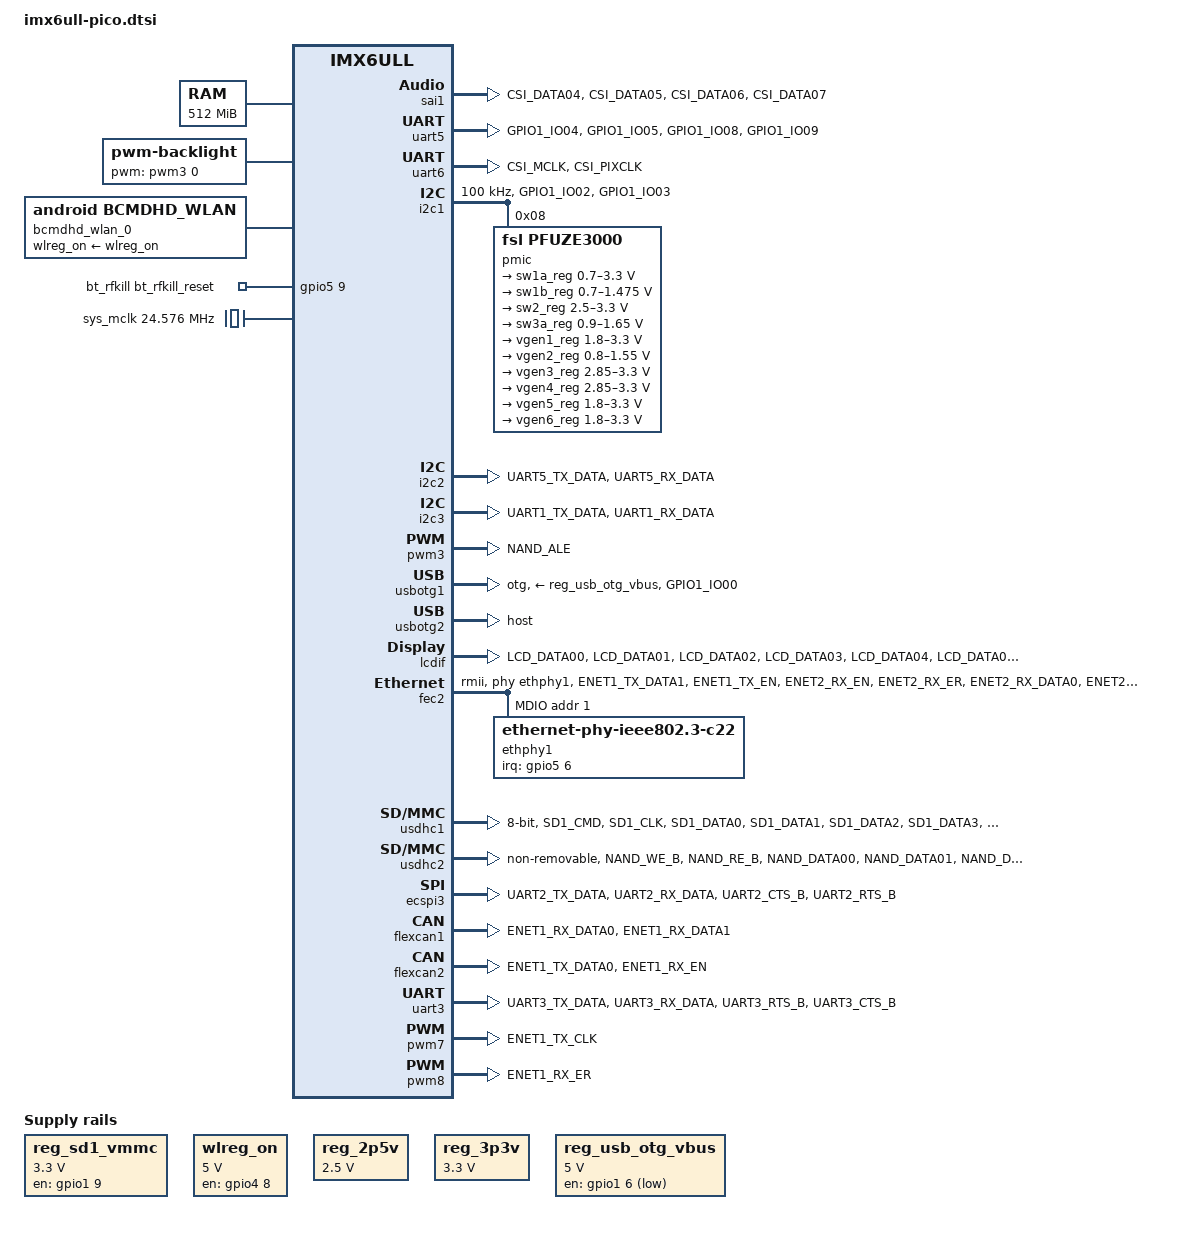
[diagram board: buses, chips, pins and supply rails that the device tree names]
/*
 * Copyright 2018 TechNexion Ltd.
 *
 * Author: Wig Cheng  <wig.cheng@technexion.com>
 *         Richard Hu <richard.hu@technexion.com>
 *         Tapani Utriainen <tapani@technexion.com>
 *
 * This program is free software; you can redistribute it and/or modify
 * it under the terms of the GNU General Public License version 2 as
 * published by the Free Software Foundation.
 *
 */

#include <dt-bindings/gpio/gpio.h>

/* external pins on PICO connector */
#define PICO_EXT_GPIO_P24 gpio4 19
#define PICO_EXT_GPIO_P25 gpio4 20
#define PICO_EXT_GPIO_P26 gpio4 21
#define PICO_EXT_GPIO_P28 gpio4 22
#define PICO_EXT_GPIO_P30 gpio4 23
#define PICO_EXT_GPIO_P32 gpio4 24
#define PICO_EXT_GPIO_P34 gpio1 18
#define PICO_EXT_GPIO_P44 gpio1 29
#define PICO_EXT_GPIO_P48 gpio5 2

/* audio codec */
#define PICO_AUDA_I2S_CHANNEL sai1

/* I2C bus */
#define PICO_I2CA i2c2
#define PICO_I2CB i2c1
#define PICO_I2CC i2c3

#define PICO_SPIA ecspi3

#define PICO_CANA flexcan1
#define PICO_CANB flexcan2

#define PICO_DWARF_GPIO_DEFS()	\
&gpio1 {									\
	gpio-line-names = 							\
		"", "", "", "", "", "", "", "",					\
		"", "", "", "", "", "", "", "",					\
		"", "", "", "", "", "", "", "",					\
		"", "", "", "", "", "", "", "";					\
										\
	pinctrl-0 = <&pinctrl_gpio1>;						\
};										\
										\
&gpio4 {									\
	gpio-line-names = 							\
		"", "", "", "", "", "", "", "",					\
		"", "", "", "", "", "", "", "",					\
		"", "", "", "", "", "", "", "",					\
		"", "", "", "", "", "", "", "";					\
										\
	pinctrl-0 = <&pinctrl_gpio4>;						\
};										\
										\
&gpio5 {									\
	gpio-line-names = 							\
		"", "", "", "", "", "", "", "",					\
		"", "", "", "", "", "", "", "",					\
		"", "", "", "", "", "", "", "",					\
		"", "", "", "", "", "", "", "";					\
										\
	pinctrl-0 = <&pinctrl_gpio5>;						\
}

#define PICO_HOBBIT_GPIO_DEFS()	\
&gpio1 {									\
	gpio-line-names = 							\
		"", "", "", "", "", "", "", "",					\
		"", "", "", "", "", "", "", "",					\
		"", "", "GPIO_P34", "", "", "", "", "",				\
		"", "", "", "", "", "", "", "";					\
										\
	pinctrl-0 = <&pinctrl_gpio1>;						\
};										\
										\
&gpio4 {									\
	gpio-line-names = 							\
		"", "", "", "", "", "", "", "",					\
		"", "", "", "", "", "", "", "",					\
		"", "", "", "GPIO_P24", "", "GPIO_P26", "GPIO_P28", "GPIO_P30",	\
		"", "", "", "", "", "", "", "";					\
										\
	pinctrl-0 = <&pinctrl_gpio4>;						\
};										\
										\
&gpio5 {									\
	gpio-line-names = 							\
		"", "", "", "", "", "", "", "",					\
		"", "", "", "", "", "", "", "",					\
		"", "", "", "", "", "", "", "",					\
		"", "", "", "", "", "", "", "";					\
										\
	pinctrl-0 = <&pinctrl_gpio5>;						\
}

#define PICO_NYMPH_GPIO_DEFS()	\
&gpio1 {									\
	gpio-line-names = 							\
		"", "", "", "", "", "", "", "",					\
		"", "", "", "", "", "", "", "",					\
		"", "", "GPIO_P34", "", "", "", "", "",				\
		"", "", "", "", "", "", "", "";					\
										\
	pinctrl-0 = <&pinctrl_gpio1>;						\
};										\
										\
&gpio4 {									\
	gpio-line-names = 							\
		"", "", "", "", "", "", "", "",					\
		"", "", "", "", "", "", "", "",					\
		"", "", "", "GPIO_P24", "", "GPIO_P26", "GPIO_P28", "GPIO_P30",	\
		"", "", "", "", "", "", "", "";					\
										\
	pinctrl-0 = <&pinctrl_gpio4>;						\
};										\
										\
&gpio5 {									\
	gpio-line-names = 							\
		"", "", "", "", "", "", "", "",					\
		"", "", "", "", "", "", "", "",					\
		"", "", "", "", "", "", "", "",					\
		"", "", "", "", "", "", "", "";					\
										\
	pinctrl-0 = <&pinctrl_gpio5>;						\
}

#define PICO_PI_GPIO_DEFS()	\
&gpio1 {									\
	gpio-line-names = 							\
		"", "", "", "", "", "", "", "",					\
		"", "", "", "", "", "", "", "",					\
		"", "", "GPIO_P34", "", "", "", "", "",				\
		"", "", "", "", "", "", "", "";					\
										\
	pinctrl-0 = <&pinctrl_gpio1>;						\
};										\
										\
&gpio4 {									\
	gpio-line-names = 							\
		"", "", "", "", "", "", "", "",					\
		"", "", "", "", "", "", "", "",					\
		"", "", "", "GPIO_P24", "", "GPIO_P26", "GPIO_P28", "GPIO_P30",	\
		"", "", "", "", "", "", "", "";					\
										\
	pinctrl-0 = <&pinctrl_gpio4>;						\
};										\
										\
&gpio5 {									\
	gpio-line-names = 							\
		"", "", "GPIO_P48", "", "", "", "", "",				\
		"", "", "", "", "", "", "", "",					\
		"", "", "", "", "", "", "", "",					\
		"", "", "", "", "", "", "", "";					\
										\
	pinctrl-0 = <&pinctrl_gpio5>;						\
}

/ {
	memory {
		reg = <0x80000000 0x20000000>;
	};

	chosen {
		stdout-path = &uart6;
	};

	backlight {
		compatible = "pwm-backlight";
		pwms = <&pwm3 0 50000 0>;
		brightness-levels = <0 36 72 108 144 180 216 255>;
		default-brightness-level = <6>;
		status = "okay";
	};

	regulators {
		compatible = "simple-bus";
		#address-cells = <1>;
		#size-cells = <0>;

		reg_sd1_vmmc: regulator@1 {
			compatible = "regulator-fixed";
			regulator-name = "VSD_3V3";
			regulator-min-microvolt = <3300000>;
			regulator-max-microvolt = <3300000>;
			gpio = <&gpio1 9 GPIO_ACTIVE_HIGH>;
			enable-active-high;
			regulator-always-on;
		};

		wlreg_on: fixedregulator@100 {
			compatible = "regulator-fixed";
			regulator-min-microvolt = <5000000>;
			regulator-max-microvolt = <5000000>;
			regulator-name = "wlreg_on";
			gpio = <&gpio4 8 0>;
			startup-delay-us = <100>;
			enable-active-high;
		};

		reg_2p5v: 2p5v {
			compatible = "regulator-fixed";
			regulator-name = "2P5V";
			regulator-min-microvolt = <2500000>;
			regulator-max-microvolt = <2500000>;
			regulator-always-on;
		};

		reg_3p3v: 3p3v {
			compatible = "regulator-fixed";
			regulator-name = "3P3V";
			regulator-min-microvolt = <3300000>;
			regulator-max-microvolt = <3300000>;
			regulator-always-on;
		};

		reg_usb_otg_vbus: usb_otg_vbus {
			compatible = "regulator-fixed";
			pinctrl-names = "default";
			pinctrl-0 = <&pinctrl_usb_otg1>;
			regulator-name = "usb_otg_vbus";
			regulator-min-microvolt = <5000000>;
			regulator-max-microvolt = <5000000>;
			gpio = <&gpio1 6 0>;
		};
	};

	bcmdhd_wlan_0: bcmdhd_wlan@0 {
		compatible = "android,bcmdhd_wlan";
		pinctrl-names = "default";
		pinctrl-0 = <&pinctrl_wifi_ctrl>;
		wlreg_on-supply = <&wlreg_on>;
	};

	bt_rfkill {
		compatible = "net,rfkill-bcm43xx";
		pinctrl-names = "default";
		pinctrl-0 = <&pinctrl_bt_ctrl &pinctrl_bt_host>;
		name = "bt_rfkill";
		type = <2>;     /* bluetooth */
		bt_rfkill_reset-gpios = <&gpio5 9 0>;
	};

	sound {
		compatible = "fsl,imx6ul-sgtl5000",
			"fsl,imx-audio-sgtl5000";
		model = "audio-sgtl5000";
		ssi-controller = <&sai1>;
		asrc-controller = <&asrc>;
		audio-codec = <&codec>;
		audio-routing =
			"LINE_IN", "Line In Jack",
			"MIC_IN", "Mic Jack",
			"Mic Jack", "Mic Bias",
			"Headphone Jack", "HP_OUT",
			"Playback", "CPU-Playback",
			"CPU-Playback", "ASRC-Playback",
			"ASRC-Capture", "CPU-Capture",
			"CPU-Capture", "Capture";
		fsl,no-audmux = "true";
		codec-master;
	};

	clocks {
		sys_mclk: clock {
			compatible = "fixed-clock";
			#clock-cells = <0>;
			clock-frequency = <24576000>;
		};
	};
};

&cpu0 {
	fsl,arm-soc-shared = <1>;
};

&clks {
	assigned-clocks = <&clks IMX6UL_CLK_PLL4_AUDIO_DIV>;
	assigned-clock-rates = <786432000>;
};

&sai1 {
	pinctrl-names = "default";
	pinctrl-0 = <&pinctrl_sai1>;
	status = "okay";
};

&csi {
	status = "disabled";
};

&gpc {
	fsl,cpu_pupscr_sw2iso = <0x1>;
	fsl,cpu_pupscr_sw = <0x0>;
	fsl,cpu_pdnscr_iso2sw = <0x1>;
	fsl,cpu_pdnscr_iso = <0x1>;
	fsl,wdog-reset = <1>; /* watchdog select of reset source */
	fsl,ldo-bypass = <0>; /* DCDC, ldo-enable */
};

&uart5 { /* Bluetooth */
	pinctrl-names = "default";
	pinctrl-0 = <&pinctrl_uart5>;
	fsl,uart-has-rtscts;
	status = "okay";
};

&uart6 {
	pinctrl-names = "default";
	pinctrl-0 = <&pinctrl_uart6>;
	status = "okay";
};

&i2c1 {
	clock-frequency = <100000>;
	pinctrl-names = "default";
	pinctrl-0 = <&pinctrl_i2c1>;
	status = "okay";

	pmic: pfuze3000@8 {
		compatible = "fsl,pfuze3000";
		reg = <0x08>;

		regulators {
			sw1a_reg: sw1a {
				regulator-min-microvolt = <700000>;
				regulator-max-microvolt = <3300000>;
				regulator-boot-on;
				regulator-always-on;
				regulator-ramp-delay = <6250>;
			};

			/* VDD_ARM_SOC_IN */
			sw1b_reg: sw1b {
				regulator-min-microvolt = <700000>;
				regulator-max-microvolt = <1475000>;
				regulator-boot-on;
				regulator-always-on;
				regulator-ramp-delay = <6250>;
			};

			sw2_reg: sw2 {
				regulator-min-microvolt = <2500000>;
				regulator-max-microvolt = <3300000>;
				regulator-boot-on;
				regulator-always-on;
			};

			/* DRAM */
			sw3a_reg: sw3 {
				regulator-min-microvolt = <900000>;
				regulator-max-microvolt = <1650000>;
				regulator-boot-on;
				regulator-always-on;
			};

			/* DRAM */
			vref_reg: vrefddr {
				regulator-boot-on;
				regulator-always-on;
			};

			vgen1_reg: vldo1 {
				regulator-min-microvolt = <1800000>;
				regulator-max-microvolt = <3300000>;
				regulator-always-on;
			};

			vgen2_reg: vldo2 {
				regulator-min-microvolt = <800000>;
				regulator-max-microvolt = <1550000>;
				regulator-always-on;
			};

			vgen3_reg: vccsd {
				regulator-min-microvolt = <2850000>;
				regulator-max-microvolt = <3300000>;
				regulator-always-on;
			};

			vgen4_reg: v33 {
				regulator-min-microvolt = <2850000>;
				regulator-max-microvolt = <3300000>;
				regulator-always-on;
			};

			vgen5_reg: vldo3 {
				regulator-min-microvolt = <1800000>;
				regulator-max-microvolt = <3300000>;
				regulator-always-on;
			};

			vgen6_reg: vldo4 {
				regulator-min-microvolt = <1800000>;
				regulator-max-microvolt = <3300000>;
				regulator-always-on;
			};
		};
	};
};

&i2c2 {
	clock_frequency = <100000>;
	pinctrl-names = "default";
	pinctrl-0 = <&pinctrl_i2c2>;
	status = "okay";
};

&i2c3 {
	clock_frequency = <100000>;
	pinctrl-names = "default";
	pinctrl-0 = <&pinctrl_i2c3>;
	status = "okay";
};

&iomuxc {
	pinctrl-names = "default";
	pico-imx6ull {
		pinctrl_gpio1: gpio1grp {
			fsl,pins = <
				MX6UL_PAD_UART1_CTS_B__GPIO1_IO18	0x79	/* GPIO_P34 */
				MX6UL_PAD_UART4_RX_DATA__GPIO1_IO29     0x79    /* GPIO_P44 */
			>;
		};

		pinctrl_gpio4: gpio4grp {
			fsl,pins = <
				MX6UL_PAD_CSI_VSYNC__GPIO4_IO19		0x79	/* GPIO_P24 */
				MX6UL_PAD_CSI_HSYNC__GPIO4_IO20		0x79	/* GPIO_P25 */
				MX6UL_PAD_CSI_DATA00__GPIO4_IO21	0x79	/* GPIO_P26 */
				MX6UL_PAD_CSI_DATA01__GPIO4_IO22	0x79	/* GPIO_P28 */
				MX6UL_PAD_CSI_DATA02__GPIO4_IO23	0x79	/* GPIO_P30 */
				MX6UL_PAD_CSI_DATA03__GPIO4_IO24	0x79	/* GPIO_P32 */
			>;
		};

		pinctrl_uart5: uart5grp {
			fsl,pins = <
				MX6UL_PAD_GPIO1_IO04__UART5_DCE_TX	0x1b0b1
				MX6UL_PAD_GPIO1_IO05__UART5_DCE_RX	0x1b0b1
				MX6UL_PAD_GPIO1_IO08__UART5_DCE_RTS	0x1b0b1
				MX6UL_PAD_GPIO1_IO09__UART5_DCE_CTS	0x1b0b1
			>;
		};

		pinctrl_uart6: uart6grp {
			fsl,pins = <
				MX6UL_PAD_CSI_MCLK__UART6_DCE_TX	0x1b0b1
				MX6UL_PAD_CSI_PIXCLK__UART6_DCE_RX	0x1b0b1
			>;
		};

		pinctrl_usdhc1: usdhc1grp {
			fsl,pins = <
				MX6UL_PAD_SD1_CMD__USDHC1_CMD		0x17059
				MX6UL_PAD_SD1_CLK__USDHC1_CLK		0x10071
				MX6UL_PAD_SD1_DATA0__USDHC1_DATA0	0x17059
				MX6UL_PAD_SD1_DATA1__USDHC1_DATA1	0x17059
				MX6UL_PAD_SD1_DATA2__USDHC1_DATA2	0x17059
				MX6UL_PAD_SD1_DATA3__USDHC1_DATA3	0x17059
				MX6UL_PAD_UART1_RTS_B__USDHC1_CD_B	0x03029
			>;
		};

		pinctrl_usdhc1b: usdhc1grpB {
			fsl,pins = <
				MX6UL_PAD_NAND_READY_B__USDHC1_DATA4	0x17059
				MX6UL_PAD_NAND_CE0_B__USDHC1_DATA5	0x17059
				MX6UL_PAD_NAND_CE1_B__USDHC1_DATA6	0x17059
				MX6UL_PAD_NAND_CLE__USDHC1_DATA7	0x17059
			>;
		};

		pinctrl_i2c1: i2c1grp {
			fsl,pins = <
				MX6UL_PAD_GPIO1_IO02__I2C1_SCL		0x4001b8b0
				MX6UL_PAD_GPIO1_IO03__I2C1_SDA		0x4001b8b0
			>;
		};

		pinctrl_i2c2: i2c2grp {
			fsl,pins = <
				MX6UL_PAD_UART5_TX_DATA__I2C2_SCL	0x4001b8b0
				MX6UL_PAD_UART5_RX_DATA__I2C2_SDA	0x4001b8b0
			>;
		};

		pinctrl_i2c3: i2c3grp {
			fsl,pins = <
				MX6UL_PAD_UART1_TX_DATA__I2C3_SCL	0x4001b8b0
				MX6UL_PAD_UART1_RX_DATA__I2C3_SDA	0x4001b8b0
			>;
		};

		pinctrl_wifi_ctrl: wifi_ctrlgrp {
			fsl,pins = <
				MX6UL_PAD_NAND_DATA06__GPIO4_IO08	0x03029 /* wifi-reg-on */
				MX6UL_PAD_NAND_DATA04__GPIO4_IO06	0x79    /* wifi-host-wake */
			>;
		};

		pinctrl_bt_host: bt_hostgrp {
			fsl,pins = <
				MX6UL_PAD_NAND_DATA05__GPIO4_IO07	0x79   /* bluetooth-host-wake */
			>;
		};

		pinctrl_lcdif_dat: lcdifdatgrp {
			fsl,pins = <
				MX6UL_PAD_LCD_DATA00__LCDIF_DATA00	0x79
				MX6UL_PAD_LCD_DATA01__LCDIF_DATA01	0x79
				MX6UL_PAD_LCD_DATA02__LCDIF_DATA02	0x79
				MX6UL_PAD_LCD_DATA03__LCDIF_DATA03	0x79
				MX6UL_PAD_LCD_DATA04__LCDIF_DATA04	0x79
				MX6UL_PAD_LCD_DATA05__LCDIF_DATA05	0x79
				MX6UL_PAD_LCD_DATA06__LCDIF_DATA06	0x79
				MX6UL_PAD_LCD_DATA07__LCDIF_DATA07	0x79
				MX6UL_PAD_LCD_DATA08__LCDIF_DATA08	0x79
				MX6UL_PAD_LCD_DATA09__LCDIF_DATA09	0x79
				MX6UL_PAD_LCD_DATA10__LCDIF_DATA10	0x79
				MX6UL_PAD_LCD_DATA11__LCDIF_DATA11	0x79
				MX6UL_PAD_LCD_DATA12__LCDIF_DATA12	0x79
				MX6UL_PAD_LCD_DATA13__LCDIF_DATA13	0x79
				MX6UL_PAD_LCD_DATA14__LCDIF_DATA14	0x79
				MX6UL_PAD_LCD_DATA15__LCDIF_DATA15	0x79
				MX6UL_PAD_LCD_DATA16__LCDIF_DATA16	0x79
				MX6UL_PAD_LCD_DATA17__LCDIF_DATA17	0x79
				MX6UL_PAD_LCD_DATA18__LCDIF_DATA18	0x79
				MX6UL_PAD_LCD_DATA19__LCDIF_DATA19	0x79
				MX6UL_PAD_LCD_DATA20__LCDIF_DATA20	0x79
				MX6UL_PAD_LCD_DATA21__LCDIF_DATA21	0x79
				MX6UL_PAD_LCD_DATA22__LCDIF_DATA22	0x79
				MX6UL_PAD_LCD_DATA23__LCDIF_DATA23	0x79
			>;
		};

		pinctrl_lcdif_ctrl: lcdifctrlgrp {
			fsl,pins = <
				MX6UL_PAD_LCD_CLK__LCDIF_CLK		0x79
				MX6UL_PAD_LCD_ENABLE__LCDIF_ENABLE	0x79
				MX6UL_PAD_LCD_HSYNC__LCDIF_HSYNC	0x79
				MX6UL_PAD_LCD_VSYNC__LCDIF_VSYNC	0x79
			>;
		};

		pinctrl_wdog: wdoggrp {
			fsl,pins = <
				MX6UL_PAD_LCD_RESET__WDOG1_WDOG_ANY    0x30b0
			>;
		};

		pinctrl_enet2: enet2grp {
			fsl,pins = <
				MX6UL_PAD_ENET1_TX_DATA1__ENET2_MDIO	0x1b0b0
				MX6UL_PAD_ENET1_TX_EN__ENET2_MDC	0x1b0b0
				MX6UL_PAD_ENET2_RX_EN__ENET2_RX_EN	0x1b0b0
				MX6UL_PAD_ENET2_RX_ER__ENET2_RX_ER	0x1b0b0
				MX6UL_PAD_ENET2_RX_DATA0__ENET2_RDATA00	0x1b0b0
				MX6UL_PAD_ENET2_RX_DATA1__ENET2_RDATA01	0x1b0b0
				MX6UL_PAD_ENET2_TX_EN__ENET2_TX_EN	0x1b0b0
				MX6UL_PAD_ENET2_TX_DATA0__ENET2_TDATA00	0x1b0b0
				MX6UL_PAD_ENET2_TX_DATA1__ENET2_TDATA01	0x1b0b0
				MX6UL_PAD_ENET2_TX_CLK__ENET2_REF_CLK2	0x4001b031
				MX6UL_PAD_SNVS_TAMPER6__GPIO5_IO06	0x800
				MX6UL_PAD_UART4_TX_DATA__GPIO1_IO28	0x79
			>;
		};

		pinctrl_usdhc2: usdhc2grp {
			fsl,pins = <
				MX6UL_PAD_NAND_WE_B__USDHC2_CMD		0x17059
				MX6UL_PAD_NAND_RE_B__USDHC2_CLK		0x10059
				MX6UL_PAD_NAND_DATA00__USDHC2_DATA0	0x17059
				MX6UL_PAD_NAND_DATA01__USDHC2_DATA1	0x17059
				MX6UL_PAD_NAND_DATA02__USDHC2_DATA2	0x17059
				MX6UL_PAD_NAND_DATA03__USDHC2_DATA3	0x17059
			>;
		};

		pinctrl_sai1: sai1grp {
			fsl,pins = <
				MX6UL_PAD_CSI_DATA04__SAI1_TX_SYNC     0x1b0b0
				MX6UL_PAD_CSI_DATA05__SAI1_TX_BCLK     0x1b0b0
				MX6UL_PAD_CSI_DATA06__SAI1_RX_DATA     0x110b0
				MX6UL_PAD_CSI_DATA07__SAI1_TX_DATA     0x130b8
			>;
		};

		pinctrl_ecspi3: ecspi3grp {
			fsl,pins = <
				MX6UL_PAD_UART2_TX_DATA__GPIO1_IO20	0x10b0
				MX6UL_PAD_UART2_RX_DATA__ECSPI3_SCLK	0x10b0
				MX6UL_PAD_UART2_CTS_B__ECSPI3_MOSI	0x10b0
				MX6UL_PAD_UART2_RTS_B__ECSPI3_MISO	0x10b0
			>;
		};

		pinctrl_flexcan1: flexcan1grp {
			fsl,pins = <
				MX6UL_PAD_ENET1_RX_DATA0__FLEXCAN1_TX	0x1b020
				MX6UL_PAD_ENET1_RX_DATA1__FLEXCAN1_RX	0x1b020
			>;
		};

		pinctrl_flexcan2: flexcan2grp {
			fsl,pins = <
				MX6UL_PAD_ENET1_TX_DATA0__FLEXCAN2_RX	0x1b020
				MX6UL_PAD_ENET1_RX_EN__FLEXCAN2_TX	0x1b020
			>;
		};

		pinctrl_uart3: uart3grp {
			fsl,pins = <
				MX6UL_PAD_UART3_TX_DATA__UART3_DCE_TX	0x1b0b0
				MX6UL_PAD_UART3_RX_DATA__UART3_DCE_RX	0x1b0b0
				MX6UL_PAD_UART3_RTS_B__UART3_DCE_RTS	0x1b0b0
				MX6UL_PAD_UART3_CTS_B__UART3_DCE_CTS	0x1b0b0
			>;
		};

		pinctrl_pwm3: pwm3grp {
			fsl,pins = <
				MX6UL_PAD_NAND_ALE__PWM3_OUT		0x110b0
			>;
		};

		pinctrl_usb_otg1_id: usbotg1idgrp {
			fsl,pins = <
				MX6UL_PAD_GPIO1_IO00__ANATOP_OTG1_ID	0x17059
			>;
		};
		pinctrl_usb_otg1: usbotg1grp {
			fsl,pins = <
				MX6UL_PAD_GPIO1_IO06__GPIO1_IO06        0x10b0
			>;
		};

		pinctrl_pwm7: pwm7grp {
			fsl,pins = <
				MX6UL_PAD_ENET1_TX_CLK__PWM7_OUT	0x110b0
			>;
		};

		pinctrl_pwm8: pwm8grp {
			fsl,pins = <
				MX6UL_PAD_ENET1_RX_ER__PWM8_OUT		0x110b0
			>;
		};
	};
};

&iomuxc_snvs {
	pinctrl-names = "default_snvs";
	pinctrl-0 = <&pinctrl_imx6ull_gpio>;
	pico-imx6ull-snvs {
		pinctrl_imx6ull_gpio: ext-pinctrl_imx6ull_gpio {
			fsl,pins = <
				MX6ULL_PAD_BOOT_MODE0__GPIO5_IO10	0x80000000
				MX6ULL_PAD_BOOT_MODE1__GPIO5_IO11	0x80000000
				MX6ULL_PAD_SNVS_TAMPER0__GPIO5_IO00	0x80000000
				MX6ULL_PAD_SNVS_TAMPER1__GPIO5_IO01	0x80000000
				MX6ULL_PAD_SNVS_TAMPER3__GPIO5_IO03	0x80000000
				MX6ULL_PAD_SNVS_TAMPER4__GPIO5_IO04	0x80000000
				MX6ULL_PAD_SNVS_TAMPER5__GPIO5_IO05	0x80000000
				MX6ULL_PAD_SNVS_TAMPER7__GPIO5_IO07	0x80000000
			>;
		};

		pinctrl_gpio5: gpio5grp {
			fsl,pins = <
				MX6ULL_PAD_SNVS_TAMPER2__GPIO5_IO02	0x79
			>;
		};

		pinctrl_bt_ctrl: bt_ctrlgrp {
			fsl,pins = <
				MX6ULL_PAD_SNVS_TAMPER9__GPIO5_IO09	0x79	/* bluetooth-reg-on */
				MX6ULL_PAD_SNVS_TAMPER8__GPIO5_IO08	0x79	/* bluetooth-wake */
			>;
		};

		pinctrl_enet2_phy: enet2_phy_grp {
			fsl,pins = <
				MX6ULL_PAD_SNVS_TAMPER6__GPIO5_IO06      0x800
			>;
		};
	};
};

&pwm3 {
	pinctrl-names = "default";
	pinctrl-0 = <&pinctrl_pwm3>;
	clocks = <&clks IMX6UL_CLK_PWM3>,
		 <&clks IMX6UL_CLK_PWM3>;
	status = "okay";
};

&usbotg1 {
	vbus-supply = <&reg_usb_otg_vbus>;
	pinctrl-names = "default";
	pinctrl-0 = <&pinctrl_usb_otg1_id>;
	dr_mode = "otg";
	disable-over-current;
	status = "okay";
};

&usbotg2 {
	dr_mode = "host";
	disable-over-current;
	status = "okay";
};

&lcdif {
	pinctrl-names = "default";
	pinctrl-0 = <&pinctrl_lcdif_dat
		     &pinctrl_lcdif_ctrl>;
	display = <&display0>;
	status = "okay";

	display0: display0 {
		bits-per-pixel = <32>;
		bus-width = <24>;

		display-timings {
			native-mode = <&timing0>;
			timing0: timing0 {
			clock-frequency = <33200000>;
			hactive = <800>;
			vactive = <480>;
			hfront-porch = <210>;
			hback-porch = <46>;
			hsync-len = <1>;
			vback-porch = <22>;
			vfront-porch = <23>;
			vsync-len = <1>;

			hsync-active = <0>;
			vsync-active = <0>;
			de-active = <1>;
			pixelclk-active = <0>;
			};
		};
	};
};

&fec2 {
	pinctrl-names = "default";
	pinctrl-0 = <&pinctrl_enet2 &pinctrl_enet2_phy>;
	phy-mode = "rmii";
	phy-handle = <&ethphy1>;
	status = "okay";
	phy-reset-gpios = <&gpio1 28 GPIO_ACTIVE_LOW>;
	phy-reset-duration = <11>;

	mdio {
		#address-cells = <1>;
		#size-cells = <0>;

		ethphy1: ethernet-phy@1 {
			compatible = "ethernet-phy-ieee802.3-c22";
			reg = <1>;
			max-speed = <100>;
			interrupt-parent = <&gpio5>;
			interrupts = <6 IRQ_TYPE_LEVEL_LOW>;
			micrel,led-mode = <1>;
			clocks = <&clks IMX6UL_CLK_ENET2_REF>;
			clock-names = "rmii-ref";
		};
	};
};

&usdhc1 {  /* Baseboard microSD slot */
	pinctrl-names = "default";
	pinctrl-0 = <&pinctrl_usdhc1>;
	pinctrl-1 = <&pinctrl_usdhc1b>;
	bus-width = <8>;
	no-1-8-v;
	keep-power-in-suspend;
	status = "okay";
};

&usdhc2 {  /* Wifi SDIO */
	pinctrl-names = "default";
	pinctrl-0 = <&pinctrl_usdhc2>;
	no-1-8-v;
	keep-power-in-suspend;
	non-removable;
	cd-post;
	pm-ignore-notify;
	wifi-host;
	status = "okay";
};

&ecspi3 {
	fsl,spi-num-chipselects = <2>;
	cs-gpios = <&gpio1 20 GPIO_ACTIVE_HIGH>;
	pinctrl-names = "default";
	pinctrl-0 = <&pinctrl_ecspi3>;
	status = "okay";
};

&flexcan1 {
	pinctrl-names = "default";
	pinctrl-0 = <&pinctrl_flexcan1>;
	status = "okay";
};

&flexcan2 {
	pinctrl-names = "default";
	pinctrl-0 = <&pinctrl_flexcan2>;
	status = "okay";
};

&uart3 {
	pinctrl-names = "default";
	pinctrl-0 = <&pinctrl_uart3>;
	fsl,uart-has-rtscts;
	status = "okay";
};

&wdog1 {
	pinctrl-names = "default";
	pinctrl-0 = <&pinctrl_wdog>;
	fsl,ext-reset-output;
};

&pwm1 {
	clocks = <&clks IMX6UL_CLK_DUMMY>,
		 <&clks IMX6UL_CLK_DUMMY>;
};

&pwm7 {
	pinctrl-names = "default";
	pinctrl-0 = <&pinctrl_pwm7>;
	clocks = <&clks IMX6UL_CLK_PWM7>,
		 <&clks IMX6UL_CLK_PWM7>;
	status = "okay";
};

&pwm8 {
	pinctrl-names = "default";
	pinctrl-0 = <&pinctrl_pwm8>;
	clocks = <&clks IMX6UL_CLK_PWM8>,
		 <&clks IMX6UL_CLK_PWM8>;
	status = "okay";
};
